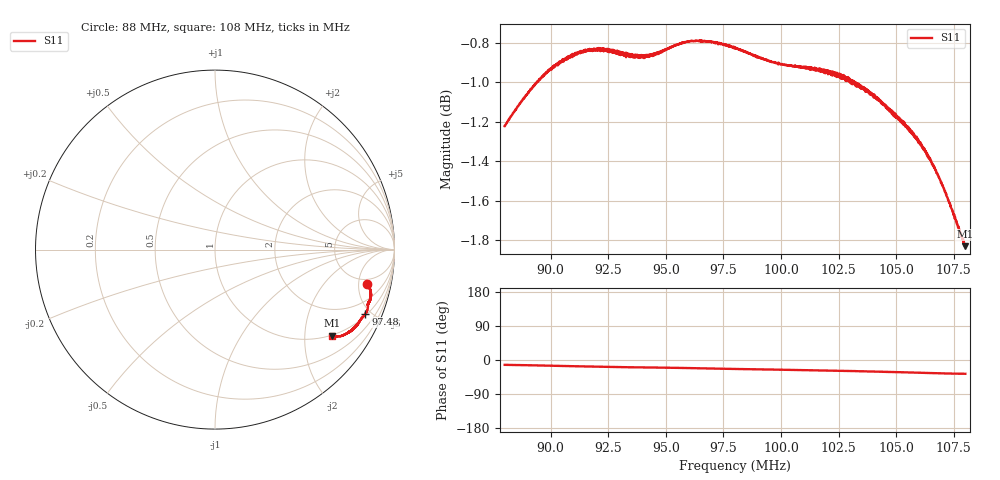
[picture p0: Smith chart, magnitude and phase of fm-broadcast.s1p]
! Calibrated averaged scanner-service zoom
# Hz S RI R 50
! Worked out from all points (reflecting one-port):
!   2001 points, 88 MHz to 108 MHz, reference 50 ohm
!   lowest |S11| = -1.8 dB at 108 MHz (marker M1), VSWR 9.52, Z = 49 - j137 ohm
!   phase of S11 starts at -13 deg and turns -24 deg over the sweep
!   S11 on the Smith chart (normalised r, x): 88 MHz: 4.06, -6.37; 97.48 MHz: 1.10, -4.65; 108 MHz: 0.98, -2.73
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8.8e7  0.847 -0.1925
8.858e7  0.855 -0.2027
8.932e7  0.8628 -0.2185
8.985e7  0.8668 -0.2298
9.05e7  0.8689 -0.2445
9.105e7  0.8687 -0.2567
9.159e7  0.8676 -0.2681
9.231e7  0.8628 -0.2819
9.3e7  0.8583 -0.2918
9.401e7  0.8526 -0.3032
9.476e7  0.8519 -0.3107
9.55e7  0.8518 -0.3225
9.629e7  0.8482 -0.3369
9.748e7  0.8383 -0.3573
9.8e7  0.8324 -0.3648
9.953e7  0.8166 -0.3836
1.005e8  0.8082 -0.3948
1.018e8  0.7964 -0.4141
1.0248e8  0.7881 -0.4253
1.03e8  0.7797 -0.4346
1.037e8  0.7678 -0.4447
1.0425e8  0.7573 -0.4524
1.055e8  0.7305 -0.4697
1.0619e8  0.7114 -0.4786
1.069e8  0.6886 -0.4846
1.074e8  0.671 -0.4849
1.0797e8  0.6525 -0.4798
1.08e8  0.6524 -0.4806
